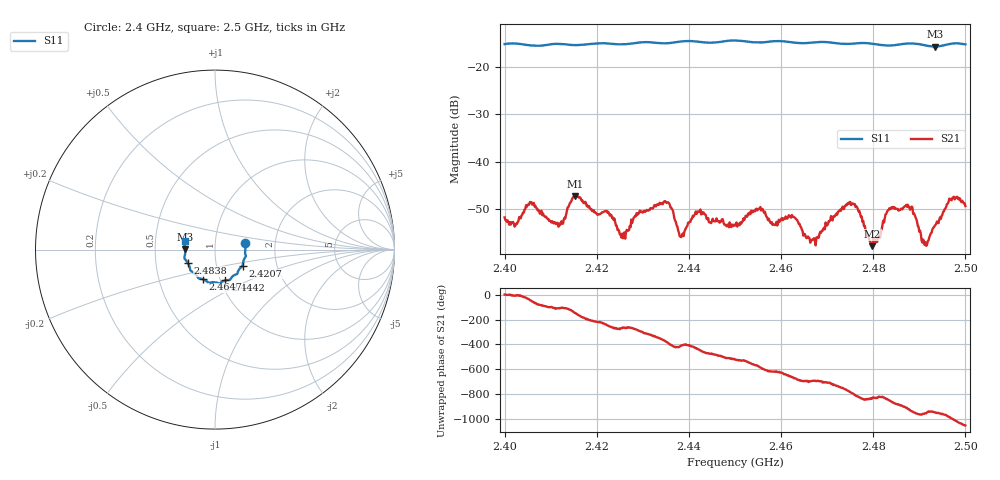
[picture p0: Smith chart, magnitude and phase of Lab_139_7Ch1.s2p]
# Hz S RI R 50
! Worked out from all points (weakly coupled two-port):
!   601 points, 2.4 GHz to 2.5 GHz, reference 50 ohm
!   highest |S21| = -47.25 dB at 2.4153 GHz (marker M1); lowest = -57.8 dB at 2.4798 GHz (marker M2)
!   lowest |S11| = -15.7 dB at 2.4935 GHz (marker M3), VSWR 1.39, Z = 35.9 + j0.108 ohm
!   |S11| at or under -10 dB: start of sweep to end of sweep
!   S12 and S22 are empty: the file has one direction only
!   S11 on the Smith chart (normalised r, x): 2.4 GHz: 1.40, +0.11; 2.4207 GHz: 1.34, -0.25; 2.4442 GHz: 1.06, -0.37; 2.4647 GHz: 0.83, -0.28; 2.4838 GHz: 0.73, -0.11; 2.5 GHz: 0.71, +0.07
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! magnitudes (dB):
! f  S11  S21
! 2.4 GHz  -15.2  -51.8
! 2.4058 GHz  -15.5  -48.6
! 2.4122 GHz  -15.1  -53.2
! 2.4153 GHz  -15.4  -47.2
! 2.4167 GHz  -15.3  -48.2
! 2.4207 GHz  -15.0  -51.1
! 2.4257 GHz  -15.2  -56.2
! 2.4333 GHz  -14.9  -49.2
! 2.4383 GHz  -14.6  -55.9
! 2.4442 GHz  -14.9  -51.9
! 2.45 GHz  -14.4  -53.5
! 2.4555 GHz  -14.8  -49.6
! 2.4647 GHz  -15.0  -54.6
! 2.4667 GHz  -14.8  -56.6
! 2.475 GHz  -15.1  -48.5
! 2.4798 GHz  -15.1  -57.8
! 2.4833 GHz  -15.5  -50.2
! 2.4838 GHz  -15.5  -50.0
! 2.488 GHz  -15.0  -50.2
! 2.4912 GHz  -15.4  -57.6
! 2.4935 GHz  -15.7  -53.3
! 2.5 GHz  -15.2  -49.4
